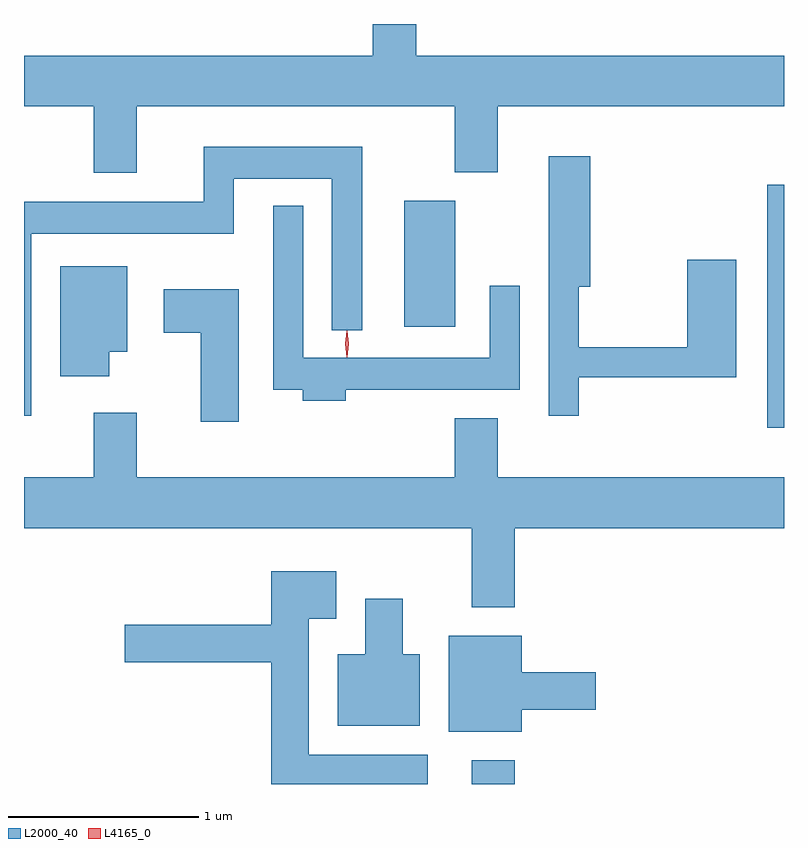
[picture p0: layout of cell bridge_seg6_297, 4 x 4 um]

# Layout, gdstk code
import gdstk
lib = gdstk.Library(unit=1e-6, precision=1e-09)
def R(c, l, rs):  # rectangles x0, y0, x1, y1
    for r in rs: c.add(gdstk.rectangle(r[:2], r[2:], *l))
def P(c, l, *ps):  # polygons
    for p in ps: c.add(gdstk.Polygon(p, *l))
L2000_40 = (2000, 40)
L4165_0 = (4165, 0)

bridge_seg6_297 = lib.new_cell('bridge_seg6_297')
R(bridge_seg6_297, L2000_40, [(1285.651,1550.91,1285.879,1551.034), (1287.206,1552.786,1287.295,1554.064), (1285.296,1553.316,1285.564,1553.979)])
P(bridge_seg6_297, L2000_40, [(1283.889,1554.476),(1285.561,1554.476),(1285.561,1554.131),(1285.789,1554.131),(1285.789,1554.476),(1287.295,1554.476),(1287.295,1554.744),(1285.359,1554.744),(1285.359,1554.91),(1285.131,1554.91),(1285.131,1554.744),(1283.295,1554.744),(1283.295,1554.476),(1283.661,1554.476),(1283.661,1554.126),(1283.889,1554.126)],
  [(1283.334,1553.806),(1284.399,1553.806),(1284.399,1554.096),(1284.916,1554.096),(1284.916,1553.298),(1285.074,1553.298),(1285.074,1554.264),(1284.241,1554.264),(1284.241,1553.974),(1283.295,1553.974),(1283.295,1552.848),(1283.334,1552.848)],
  [(1286.214,1553.051),(1287.044,1553.051),(1287.044,1553.669),(1286.786,1553.669),(1286.786,1553.209),(1286.214,1553.209),(1286.214,1553.526),(1286.274,1553.526),(1286.274,1554.214),(1286.056,1554.214),(1286.056,1552.848),(1286.214,1552.848)],
  [(1284.989,1552.986),(1285.904,1552.986),(1285.904,1553.533),(1285.746,1553.533),(1285.746,1553.154),(1284.764,1553.154),(1284.764,1553.953),(1284.606,1553.953),(1284.606,1552.986),(1284.761,1552.986),(1284.761,1552.926),(1284.989,1552.926)],
  [(1283.744,1553.186),(1283.839,1553.186),(1283.839,1553.634),(1283.486,1553.634),(1283.486,1553.056),(1283.744,1553.056)],
  [(1284.424,1553.514),(1284.031,1553.514),(1284.031,1553.286),(1284.226,1553.286),(1284.226,1552.816),(1284.424,1552.816)],
  [(1285.879,1552.256),(1287.295,1552.256),(1287.295,1552.524),(1285.789,1552.524),(1285.789,1552.834),(1285.561,1552.834),(1285.561,1552.524),(1283.889,1552.524),(1283.889,1552.864),(1283.661,1552.864),(1283.661,1552.524),(1283.295,1552.524),(1283.295,1552.256),(1285.651,1552.256),(1285.651,1551.841),(1285.879,1551.841)],
  [(1285.419,1551.064),(1284.794,1551.064),(1284.794,1551.781),(1284.939,1551.781),(1284.939,1552.029),(1284.596,1552.029),(1284.596,1551.749),(1283.826,1551.749),(1283.826,1551.551),(1284.596,1551.551),(1284.596,1550.91),(1285.419,1550.91)],
  [(1285.379,1551.594),(1285.289,1551.594),(1285.289,1551.884),(1285.091,1551.884),(1285.091,1551.594),(1284.946,1551.594),(1284.946,1551.216),(1285.379,1551.216)],
  [(1285.914,1551.301),(1286.304,1551.301),(1286.304,1551.499),(1285.914,1551.499),(1285.914,1551.689),(1285.531,1551.689),(1285.531,1551.186),(1285.914,1551.186)])
P(bridge_seg6_297, L4165_0, [(1284.995,1553.159),(1284.994,1553.16),(1284.985,1553.226),(1284.994,1553.292),(1284.995,1553.293),(1284.995,1553.292),(1285.005,1553.226),(1284.995,1553.16)],
  [(1284.994,1553.157),(1284.985,1553.226),(1284.994,1553.296),(1284.995,1553.296),(1284.995,1553.296),(1285.005,1553.226),(1284.995,1553.157),(1284.995,1553.157)])

lib.write_gds('bridge_seg6_297.gds')
